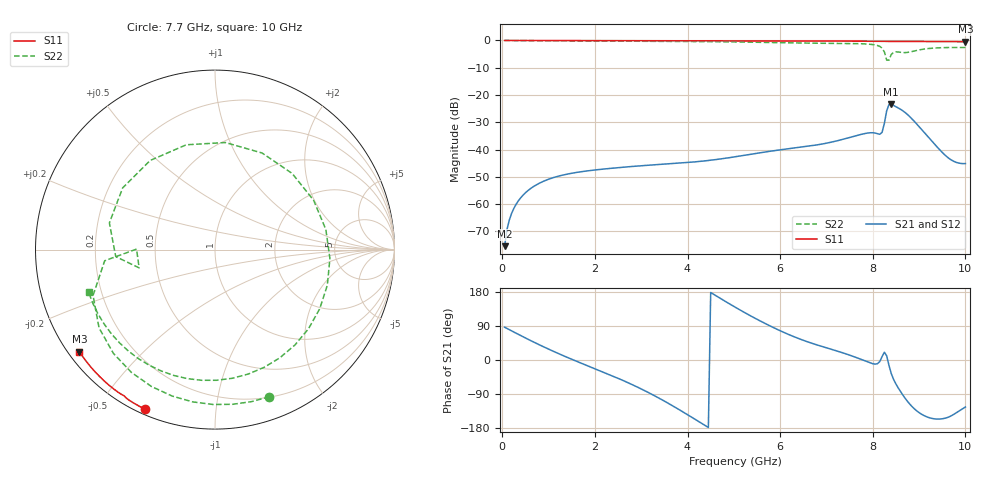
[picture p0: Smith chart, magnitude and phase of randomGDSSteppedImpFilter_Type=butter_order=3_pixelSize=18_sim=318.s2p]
! freq	dB(S11)	phase(S11)	dB(S12)	phase(S12)
!  dB(S21)	phase(S21)	dB(S22)	phase(S22)
!S-par simulation data
#  GHz  S  DB  R 50
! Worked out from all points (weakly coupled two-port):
!   200 points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, 50 MHz to 10 GHz, reference 50 ohm
!   highest |S21| = -23.36 dB at 8.4 GHz (marker M1); lowest = -75.4 dB at 50 MHz (marker M2)
!   lowest |S11| = -0.5 dB at 10 GHz (marker M3), VSWR 35.93, Z = 1.55 - j16.7 ohm
!   |S11| at or under -10 dB: nowhere
!   |S22| runs from -7.2 to 0.0 dB; largest |S21 - S12| = 0
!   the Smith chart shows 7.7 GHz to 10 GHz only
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0.05  -0.00 -0.8  -75.41 86.5  -75.41 86.5  -0.00 -5.7
0.3  -0.01 -4.9  -60.01 70.6  -60.01 70.6  -0.05 -33.7
0.85  -0.02 -13.9  -51.92 37.2  -51.92 37.2  -0.12 -92.9
1.35  -0.03 -22.0  -49.18 9.7  -49.18 9.7  -0.16 -143.0
1.75  -0.04 -28.5  -48.01 -10.7  -48.01 -10.7  -0.19 178.7
2.6  -0.05 -41.8  -46.48 -53.7  -46.48 -53.7  -0.25 97.9
3.4  -0.07 -54.1  -45.46 -101.7  -45.46 -101.7  -0.32 20.9
3.8  -0.08 -60.1  -45.00 -129.6  -45.00 -129.6  -0.36 -16.7
4.3  -0.10 -67.4  -44.28 -166.8  -44.28 -166.8  -0.42 -62.0
5.05  -0.12 -78.2  -42.58 137.9  -42.58 137.9  -0.54 -128.3
5.8  -0.15 -88.6  -40.57 88.8  -40.57 88.8  -0.75 159.6
6.3  -0.17 -95.3  -39.44 61.4  -39.44 61.4  -0.90 103.9
6.7  -0.19 -100.7  -38.54 43.6  -38.54 43.6  -0.99 55.2
7.2  -0.22 -107.3  -36.91 24.8  -36.91 24.8  -1.04 -6.7
7.75  -0.26 -114.4  -34.43 1.5  -34.43 1.5  -1.20 -76.5
8.15  -0.30 -119.6  -34.40 -4.3  -34.40 -4.3  -2.16 -146.0
8.35  -0.36 -122.1  -23.48 -14.4  -23.48 -14.4  -7.24 -166.5
8.4  -0.36 -122.6  -23.36 -36.2  -23.36 -36.2  -5.12 -176.0
8.65  -0.36 -125.8  -25.80 -92.6  -25.80 -92.6  -4.45 84.4
8.9  -0.37 -128.9  -29.71 -129.0  -29.71 -129.0  -3.85 -4.4
9.35  -0.41 -134.7  -38.31 -155.6  -38.31 -155.6  -2.76 -89.3
10  -0.48 -143.0  -45.13 -124.0  -45.13 -124.0  -2.58 -161.3
